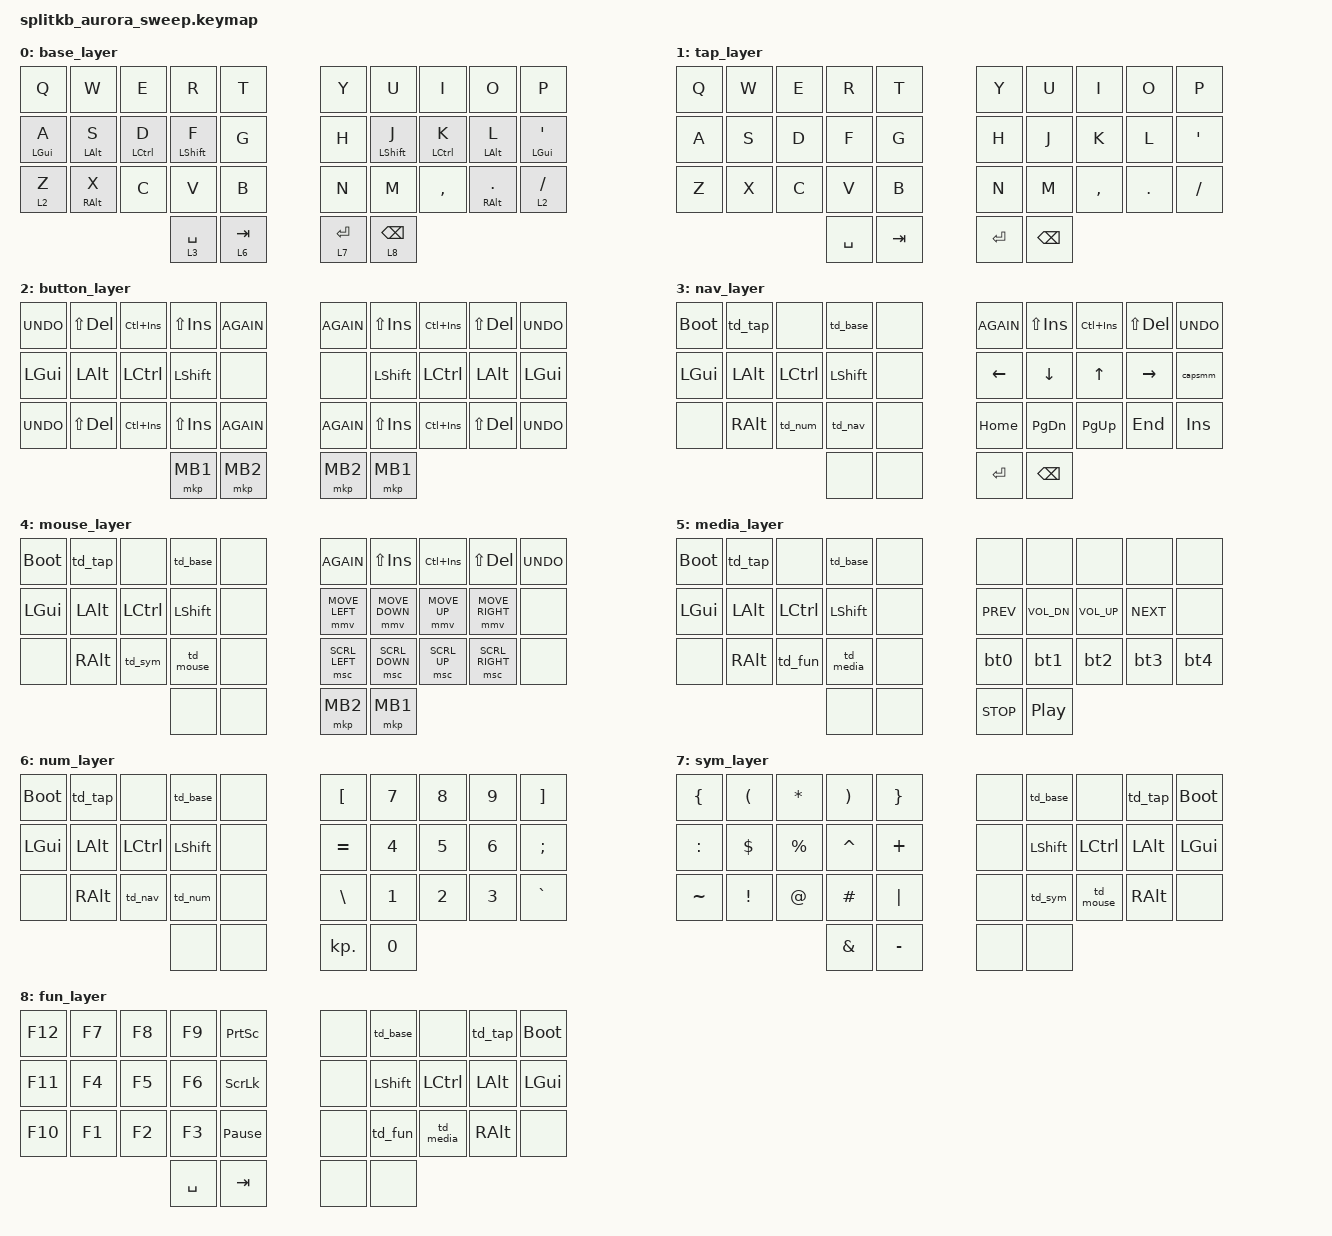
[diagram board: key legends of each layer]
/*
 * Copyright (c) 2022 The ZMK Contributors
 *
 * SPDX-License-Identifier: MIT
 *
 * Hand-ported from miryoku_zmk/miryoku/custom_config.h (Miryoku layout),
 * native ZMK syntax, no dependency on the miryoku_zmk framework.
 *
 * Layers: 0 base, 1 tap, 2 button, 3 nav, 4 mouse, 5 media, 6 num, 7 sym, 8 fun
 * (Miryoku's EXTRA layer dropped per request; its double-tap targets are &none.)
 *
 * Physical layout: 3 rows x 5 cols/side (positions 0-29) + 2 thumb keys/side
 * (30,31 left / 32,33 right). Miryoku's reference layout wants 3 thumb keys
 * per side, so the 3rd function per side is synthesized via a combo of the
 * two physical thumb keys on that side (matches miryoku's mapping/34/ferris.h
 * + miryoku_kludge_thumbcombos.dtsi behavior).
 *
 * Mouse layer uses ZMK's native pointer behaviors (&mmv/&msc/&mkp), not
 * Miryoku's default numpad-key placeholder, per request.
 */

#include <behaviors.dtsi>
#include <dt-bindings/zmk/keys.h>
#include <dt-bindings/zmk/bt.h>
#include <dt-bindings/zmk/pointing.h>
#include <dt-bindings/zmk/mouse.h>

/ {
    behaviors {
        hm: home_row_mod {
            compatible = "zmk,behavior-hold-tap";
            #binding-cells = <2>;
            tapping-term-ms = <200>;
            flavor = "tap-preferred";
            bindings = <&kp>, <&kp>;
        };

        ltp: layer_tap_preferred {
            compatible = "zmk,behavior-hold-tap";
            #binding-cells = <2>;
            tapping-term-ms = <200>;
            flavor = "tap-preferred";
            bindings = <&mo>, <&kp>;
        };

        capsmm: caps_mod_morph {
            compatible = "zmk,behavior-mod-morph";
            #binding-cells = <0>;
            bindings = <&caps_word>, <&kp CAPS>;
            mods = <(MOD_LSFT|MOD_RSFT)>;
        };

        bt0: bt_sel_0_mm {
            compatible = "zmk,behavior-mod-morph";
            #binding-cells = <0>;
            bindings = <&bt BT_SEL 0>, <&bt_clear_0>;
            mods = <(MOD_LSFT|MOD_RSFT)>;
        };
        bt1: bt_sel_1_mm {
            compatible = "zmk,behavior-mod-morph";
            #binding-cells = <0>;
            bindings = <&bt BT_SEL 1>, <&bt_clear_1>;
            mods = <(MOD_LSFT|MOD_RSFT)>;
        };
        bt2: bt_sel_2_mm {
            compatible = "zmk,behavior-mod-morph";
            #binding-cells = <0>;
            bindings = <&bt BT_SEL 2>, <&bt_clear_2>;
            mods = <(MOD_LSFT|MOD_RSFT)>;
        };
        bt3: bt_sel_3_mm {
            compatible = "zmk,behavior-mod-morph";
            #binding-cells = <0>;
            bindings = <&bt BT_SEL 3>, <&bt_clear_3>;
            mods = <(MOD_LSFT|MOD_RSFT)>;
        };
        bt4: bt_sel_4_mm {
            compatible = "zmk,behavior-mod-morph";
            #binding-cells = <0>;
            bindings = <&bt BT_SEL 4>, <&bt_clear_4>;
            mods = <(MOD_LSFT|MOD_RSFT)>;
        };

        td_base: td_to_base {
            compatible = "zmk,behavior-tap-dance";
            #binding-cells = <0>;
            tapping-term-ms = <200>;
            bindings = <&none>, <&to 0>;
        };
        td_tap: td_to_tap {
            compatible = "zmk,behavior-tap-dance";
            #binding-cells = <0>;
            tapping-term-ms = <200>;
            bindings = <&none>, <&to 1>;
        };
        td_nav: td_to_nav {
            compatible = "zmk,behavior-tap-dance";
            #binding-cells = <0>;
            tapping-term-ms = <200>;
            bindings = <&none>, <&to 3>;
        };
        td_mouse: td_to_mouse {
            compatible = "zmk,behavior-tap-dance";
            #binding-cells = <0>;
            tapping-term-ms = <200>;
            bindings = <&none>, <&to 4>;
        };
        td_media: td_to_media {
            compatible = "zmk,behavior-tap-dance";
            #binding-cells = <0>;
            tapping-term-ms = <200>;
            bindings = <&none>, <&to 5>;
        };
        td_num: td_to_num {
            compatible = "zmk,behavior-tap-dance";
            #binding-cells = <0>;
            tapping-term-ms = <200>;
            bindings = <&none>, <&to 6>;
        };
        td_sym: td_to_sym {
            compatible = "zmk,behavior-tap-dance";
            #binding-cells = <0>;
            tapping-term-ms = <200>;
            bindings = <&none>, <&to 7>;
        };
        td_fun: td_to_fun {
            compatible = "zmk,behavior-tap-dance";
            #binding-cells = <0>;
            tapping-term-ms = <200>;
            bindings = <&none>, <&to 8>;
        };
    };

    macros {
        bt_clear_0: bt_clear_0 {
            compatible = "zmk,behavior-macro";
            #binding-cells = <0>;
            bindings = <&bt BT_SEL 0>, <&bt BT_CLR>;
        };
        bt_clear_1: bt_clear_1 {
            compatible = "zmk,behavior-macro";
            #binding-cells = <0>;
            bindings = <&bt BT_SEL 1>, <&bt BT_CLR>;
        };
        bt_clear_2: bt_clear_2 {
            compatible = "zmk,behavior-macro";
            #binding-cells = <0>;
            bindings = <&bt BT_SEL 2>, <&bt BT_CLR>;
        };
        bt_clear_3: bt_clear_3 {
            compatible = "zmk,behavior-macro";
            #binding-cells = <0>;
            bindings = <&bt BT_SEL 3>, <&bt BT_CLR>;
        };
        bt_clear_4: bt_clear_4 {
            compatible = "zmk,behavior-macro";
            #binding-cells = <0>;
            bindings = <&bt BT_SEL 4>, <&bt BT_CLR>;
        };
    };

    combos {
        compatible = "zmk,combos";

        /* left thumb pair (30,31) -> synthesized 3rd left-thumb function */
        thumb_l_base   { layers = <0>; timeout-ms = <200>; key-positions = <30 31>; bindings = <&ltp 5 ESC>; };
        thumb_l_button { layers = <2>; timeout-ms = <200>; key-positions = <30 31>; bindings = <&mkp MB3>; };
        thumb_l_num    { layers = <6>; timeout-ms = <200>; key-positions = <30 31>; bindings = <&kp DOT>; };
        thumb_l_sym    { layers = <7>; timeout-ms = <200>; key-positions = <30 31>; bindings = <&kp LPAR>; };
        thumb_l_fun    { layers = <8>; timeout-ms = <200>; key-positions = <30 31>; bindings = <&kp K_APP>; };

        /* right thumb pair (32,33) -> synthesized 3rd right-thumb function */
        thumb_r_base   { layers = <0>; timeout-ms = <200>; key-positions = <32 33>; bindings = <&ltp 8 DEL>; };
        thumb_r_button { layers = <2>; timeout-ms = <200>; key-positions = <32 33>; bindings = <&mkp MB3>; };
        thumb_r_nav    { layers = <3>; timeout-ms = <200>; key-positions = <32 33>; bindings = <&kp DEL>; };
        thumb_r_mouse  { layers = <4>; timeout-ms = <200>; key-positions = <32 33>; bindings = <&mkp MB3>; };
        thumb_r_media  { layers = <5>; timeout-ms = <200>; key-positions = <32 33>; bindings = <&kp C_MUTE>; };
    };

    keymap {
        compatible = "zmk,keymap";

        base_layer {
            bindings = <
&kp Q       &kp W       &kp E       &kp R       &kp T             &kp Y       &kp U       &kp I       &kp O       &kp P
&hm LGUI A  &hm LALT S  &hm LCTRL D &hm LSHFT F &kp G             &kp H       &hm LSHFT J &hm LCTRL K &hm LALT L  &hm LGUI SQT
&ltp 2 Z    &hm RALT X  &kp C       &kp V       &kp B             &kp N       &kp M       &kp COMMA   &hm RALT DOT &ltp 2 SLASH
                        &ltp 3 SPACE &ltp 6 TAB                    &ltp 7 RET  &ltp 8 BSPC
            >;
        };

        tap_layer {
            bindings = <
&kp Q  &kp W  &kp E  &kp R  &kp T             &kp Y  &kp U  &kp I     &kp O   &kp P
&kp A  &kp S  &kp D  &kp F  &kp G             &kp H  &kp J  &kp K     &kp L   &kp SQT
&kp Z  &kp X  &kp C  &kp V  &kp B             &kp N  &kp M  &kp COMMA &kp DOT &kp SLASH
                     &kp SPACE &kp TAB         &kp RET &kp BSPC
            >;
        };

        button_layer {
            bindings = <
&kp K_UNDO &kp LS(DEL) &kp LC(INS) &kp LS(INS) &kp K_AGAIN         &kp K_AGAIN &kp LS(INS) &kp LC(INS) &kp LS(DEL) &kp K_UNDO
&kp LGUI   &kp LALT    &kp LCTRL   &kp LSHFT   &none               &none       &kp LSHFT   &kp LCTRL   &kp LALT    &kp LGUI
&kp K_UNDO &kp LS(DEL) &kp LC(INS) &kp LS(INS) &kp K_AGAIN         &kp K_AGAIN &kp LS(INS) &kp LC(INS) &kp LS(DEL) &kp K_UNDO
                       &mkp MB1    &mkp MB2                         &mkp MB2    &mkp MB1
            >;
        };

        nav_layer {
            bindings = <
&bootloader &td_tap  &none    &td_base &none               &kp K_AGAIN &kp LS(INS) &kp LC(INS) &kp LS(DEL) &kp K_UNDO
&kp LGUI    &kp LALT &kp LCTRL &kp LSHFT &none              &kp LEFT    &kp DOWN    &kp UP      &kp RIGHT   &capsmm
&none       &kp RALT &td_num  &td_nav  &none               &kp HOME    &kp PG_DN   &kp PG_UP   &kp END     &kp INS
                     &none    &none                          &kp RET     &kp BSPC
            >;
        };

        mouse_layer {
            bindings = <
&bootloader &td_tap  &none    &td_base &none               &kp K_AGAIN &kp LS(INS) &kp LC(INS) &kp LS(DEL) &kp K_UNDO
&kp LGUI    &kp LALT &kp LCTRL &kp LSHFT &none              &mmv MOVE_LEFT &mmv MOVE_DOWN &mmv MOVE_UP &mmv MOVE_RIGHT &none
&none       &kp RALT &td_sym  &td_mouse &none               &msc SCRL_LEFT &msc SCRL_DOWN &msc SCRL_UP &msc SCRL_RIGHT &none
                     &none    &none                          &mkp MB2    &mkp MB1
            >;
        };

        media_layer {
            bindings = <
&bootloader &td_tap  &none    &td_base &none    &none       &none        &none        &none        &none
&kp LGUI    &kp LALT &kp LCTRL &kp LSHFT &none  &kp C_PREV  &kp C_VOL_DN &kp C_VOL_UP &kp C_NEXT  &none
&none       &kp RALT &td_fun  &td_media &none   &bt0        &bt1         &bt2         &bt3        &bt4
                     &none    &none                          &kp C_STOP  &kp C_PP
            >;
        };

        num_layer {
            bindings = <
&bootloader &td_tap  &none    &td_base &none    &kp LBKT &kp N7 &kp N8 &kp N9 &kp RBKT
&kp LGUI    &kp LALT &kp LCTRL &kp LSHFT &none              &kp EQUAL &kp N4 &kp N5 &kp N6 &kp SEMI
&none       &kp RALT &td_nav  &td_num  &none               &kp BSLH &kp N1 &kp N2 &kp N3 &kp GRAVE
                     &none    &none                          &kp KP_DOT &kp N0
            >;
        };

        sym_layer {
            bindings = <
&kp LBRC &kp LPAR &kp ASTRK &kp RPAR &kp RBRC             &none &td_base &none    &td_tap  &bootloader
&kp COLON &kp DLLR &kp PRCNT &kp CARET &kp PLUS            &none &kp LSHFT &kp LCTRL &kp LALT &kp LGUI
&kp TILDE &kp EXCL &kp AT   &kp HASH &kp PIPE              &none &td_sym  &td_mouse &kp RALT &none
                  &kp AMPS &kp MINUS                        &none    &none
            >;
        };

        fun_layer {
            bindings = <
&kp F12  &kp F7  &kp F8  &kp F9  &kp PSCRN                 &none &td_base &none    &td_tap  &bootloader
&kp F11  &kp F4  &kp F5  &kp F6  &kp SLCK                  &none &kp LSHFT &kp LCTRL &kp LALT &kp LGUI
&kp F10  &kp F1  &kp F2  &kp F3  &kp PAUSE_BREAK           &none &td_fun  &td_media &kp RALT &none
                 &kp SPACE &kp TAB                          &none    &none
            >;
        };
    };
};
